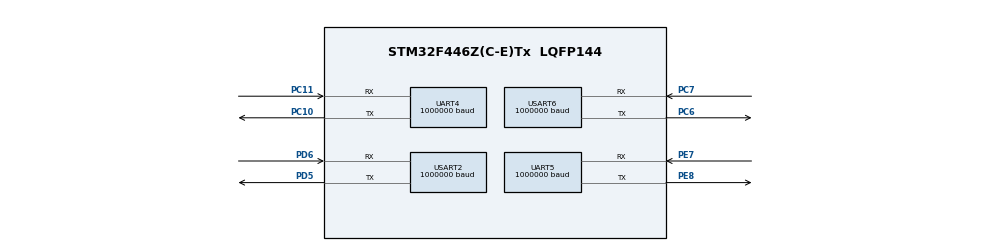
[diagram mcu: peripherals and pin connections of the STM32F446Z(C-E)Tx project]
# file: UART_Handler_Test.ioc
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FREERTOS.Tasks01=defaultTask,0,128,StartDefaultTask,Default,NULL
Mcu.Family=STM32F4
Mcu.Name=STM32F446Z(C-E)Tx
Mcu.Package=LQFP144
NVIC.PriorityGroup=NVIC_PRIORITYGROUP_4
PC10.Mode=Asynchronous
PC10.Signal=UART4_TX
PC11.Mode=Asynchronous
PC11.Signal=UART4_RX
PC6.Mode=Asynchronous
PC6.Signal=USART6_TX
PC7.Mode=Asynchronous
PC7.Signal=USART6_RX
PD5.Mode=Asynchronous
PD5.Signal=USART2_TX
PD6.Mode=Asynchronous
PD6.Signal=USART2_RX
PE7.Mode=Asynchronous
PE7.Signal=UART5_RX
PE8.Mode=Asynchronous
PE8.Signal=UART5_TX
ProjectManager.HeapSize=0x200
ProjectManager.StackSize=0x400
ProjectManager.TargetToolchain=SW4STM32
RCC.CortexFreq_Value=16000000
RCC.USBFreq_Value=96000000
RCC.VCOOutputFreq_Value=192000000
UART4.BaudRate=1000000
UART4.VirtualMode=Asynchronous
UART5.BaudRate=1000000
UART5.VirtualMode=Asynchronous
USART2.BaudRate=1000000
USART2.VirtualMode=VM_ASYNC
USART6.BaudRate=1000000
USART6.VirtualMode=VM_ASYNC
VP_FREERTOS_VS_ENABLE.Mode=Enabled
board=UART_Handler_Test

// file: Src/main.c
/**
  ******************************************************************************
  * File Name          : main.c
  * Description        : Main program body
  ******************************************************************************
  * This notice applies to any and all portions of this file
  * that are not between comment pairs USER CODE BEGIN and
  * USER CODE END. Other portions of this file, whether
  * inserted by the user or by software development tools
  * are owned by their respective copyright owners.
  *
  * Copyright (c) 2017 STMicroelectronics International N.V.
  * All rights reserved.
  *
  * Redistribution and use in source and binary forms, with or without
  * modification, are permitted, provided that the following conditions are met:
  *
  * 1. Redistribution of source code must retain the above copyright notice,
  *    this list of conditions and the following disclaimer.
  * 2. Redistributions in binary form must reproduce the above copyright notice,
  *    this list of conditions and the following disclaimer in the documentation
  *    and/or other materials provided with the distribution.
  * 3. Neither the name of STMicroelectronics nor the names of other
  *    contributors to this software may be used to endorse or promote products
  *    derived from this software without specific written permission.
  * 4. This software, including modifications and/or derivative works of this
  *    software, must execute solely and exclusively on microcontroller or
  *    microprocessor devices manufactured by or for STMicroelectronics.
  * 5. Redistribution and use of this software other than as permitted under
  *    this license is void and will automatically terminate your rights under
  *    this license.
  *
  * THIS SOFTWARE IS PROVIDED BY STMICROELECTRONICS AND CONTRIBUTORS "AS IS"
  * AND ANY EXPRESS, IMPLIED OR STATUTORY WARRANTIES, INCLUDING, BUT NOT
  * LIMITED TO, THE IMPLIED WARRANTIES OF MERCHANTABILITY, FITNESS FOR A
  * PARTICULAR PURPOSE AND NON-INFRINGEMENT OF THIRD PARTY INTELLECTUAL PROPERTY
  * RIGHTS ARE DISCLAIMED TO THE FULLEST EXTENT PERMITTED BY LAW. IN NO EVENT
  * SHALL STMICROELECTRONICS OR CONTRIBUTORS BE LIABLE FOR ANY DIRECT, INDIRECT,
  * INCIDENTAL, SPECIAL, EXEMPLARY, OR CONSEQUENTIAL DAMAGES (INCLUDING, BUT NOT
  * LIMITED TO, PROCUREMENT OF SUBSTITUTE GOODS OR SERVICES; LOSS OF USE, DATA,
  * OR PROFITS; OR BUSINESS INTERRUPTION) HOWEVER CAUSED AND ON ANY THEORY OF
  * LIABILITY, WHETHER IN CONTRACT, STRICT LIABILITY, OR TORT (INCLUDING
  * NEGLIGENCE OR OTHERWISE) ARISING IN ANY WAY OUT OF THE USE OF THIS SOFTWARE,
  * EVEN IF ADVISED OF THE POSSIBILITY OF SUCH DAMAGE.
  *
  ******************************************************************************
  */
#include "main.h"
#include "stm32f4xx_hal.h"
#include "cmsis_os.h"
#include "usart.h"
#include "gpio.h"

/* USER CODE BEGIN PV */
/* Private variables ---------------------------------------------------------*/
/* USER CODE END PV */

void SystemClock_Config(void);
void MX_FREERTOS_Init(void);

/* USER CODE BEGIN PFP */
/* Private function prototypes -----------------------------------------------*/

/* USER CODE END PFP */

int main(void)
{

  /* MCU Configuration----------------------------------------------------------*/

  /* Reset of all peripherals, Initializes the Flash interface and the Systick. */
  HAL_Init();

  /* Configure the system clock */
  SystemClock_Config();

  /* Initialize all configured peripherals */
  MX_GPIO_Init();
  MX_USART2_UART_Init();
  MX_UART4_Init();
  MX_UART5_Init();
  MX_USART6_UART_Init();

  /* Call init function for freertos objects (in freertos.c) */
  MX_FREERTOS_Init();

  /* Start scheduler */
  osKernelStart();

  /* We should never get here as control is now taken by the scheduler */

  /* Infinite loop */
  while (1)
  {

  }

}

/** System Clock Configuration
*/
void SystemClock_Config(void)
{

  RCC_OscInitTypeDef RCC_OscInitStruct;
  RCC_ClkInitTypeDef RCC_ClkInitStruct;

    /**Configure the main internal regulator output voltage
    */
  __HAL_RCC_PWR_CLK_ENABLE();

  __HAL_PWR_VOLTAGESCALING_CONFIG(PWR_REGULATOR_VOLTAGE_SCALE3);

    /**Initializes the CPU, AHB and APB busses clocks
    */
  RCC_OscInitStruct.OscillatorType = RCC_OSCILLATORTYPE_HSI;
  RCC_OscInitStruct.HSIState = RCC_HSI_ON;
  RCC_OscInitStruct.HSICalibrationValue = 16;
  RCC_OscInitStruct.PLL.PLLState = RCC_PLL_NONE;
  if (HAL_RCC_OscConfig(&RCC_OscInitStruct) != HAL_OK)
  {
    _Error_Handler(__FILE__, __LINE__);
  }

    /**Initializes the CPU, AHB and APB busses clocks
    */
  RCC_ClkInitStruct.ClockType = RCC_CLOCKTYPE_HCLK|RCC_CLOCKTYPE_SYSCLK
                              |RCC_CLOCKTYPE_PCLK1|RCC_CLOCKTYPE_PCLK2;
  RCC_ClkInitStruct.SYSCLKSource = RCC_SYSCLKSOURCE_HSI;
  RCC_ClkInitStruct.AHBCLKDivider = RCC_SYSCLK_DIV1;
  RCC_ClkInitStruct.APB1CLKDivider = RCC_HCLK_DIV1;
  RCC_ClkInitStruct.APB2CLKDivider = RCC_HCLK_DIV1;

  if (HAL_RCC_ClockConfig(&RCC_ClkInitStruct, FLASH_LATENCY_0) != HAL_OK)
  {
    _Error_Handler(__FILE__, __LINE__);
  }

    /**Configure the Systick interrupt time
    */
  HAL_SYSTICK_Config(HAL_RCC_GetHCLKFreq()/1000);

    /**Configure the Systick
    */
  HAL_SYSTICK_CLKSourceConfig(SYSTICK_CLKSOURCE_HCLK);

  /* SysTick_IRQn interrupt configuration */
  HAL_NVIC_SetPriority(SysTick_IRQn, 15, 0);
}

void _Error_Handler(char * file, int line)
{
  while(1)
  {
  }
}

/************************ (C) COPYRIGHT STMicroelectronics *****END OF FILE****/

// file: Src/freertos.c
/**
  ******************************************************************************
  * File Name          : freertos.c
  * Description        : Code for freertos applications
  ******************************************************************************
  * This notice applies to any and all portions of this file
  * that are not between comment pairs USER CODE BEGIN and
  * USER CODE END. Other portions of this file, whether
  * inserted by the user or by software development tools
  * are owned by their respective copyright owners.
  *
  * Copyright (c) 2017 STMicroelectronics International N.V.
  * All rights reserved.
  *
  * Redistribution and use in source and binary forms, with or without
  * modification, are permitted, provided that the following conditions are met:
  *
  * 1. Redistribution of source code must retain the above copyright notice,
  *    this list of conditions and the following disclaimer.
  * 2. Redistributions in binary form must reproduce the above copyright notice,
  *    this list of conditions and the following disclaimer in the documentation
  *    and/or other materials provided with the distribution.
  * 3. Neither the name of STMicroelectronics nor the names of other
  *    contributors to this software may be used to endorse or promote products
  *    derived from this software without specific written permission.
  * 4. This software, including modifications and/or derivative works of this
  *    software, must execute solely and exclusively on microcontroller or
  *    microprocessor devices manufactured by or for STMicroelectronics.
  * 5. Redistribution and use of this software other than as permitted under
  *    this license is void and will automatically terminate your rights under
  *    this license.
  *
  * THIS SOFTWARE IS PROVIDED BY STMICROELECTRONICS AND CONTRIBUTORS "AS IS"
  * AND ANY EXPRESS, IMPLIED OR STATUTORY WARRANTIES, INCLUDING, BUT NOT
  * LIMITED TO, THE IMPLIED WARRANTIES OF MERCHANTABILITY, FITNESS FOR A
  * PARTICULAR PURPOSE AND NON-INFRINGEMENT OF THIRD PARTY INTELLECTUAL PROPERTY
  * RIGHTS ARE DISCLAIMED TO THE FULLEST EXTENT PERMITTED BY LAW. IN NO EVENT
  * SHALL STMICROELECTRONICS OR CONTRIBUTORS BE LIABLE FOR ANY DIRECT, INDIRECT,
  * INCIDENTAL, SPECIAL, EXEMPLARY, OR CONSEQUENTIAL DAMAGES (INCLUDING, BUT NOT
  * LIMITED TO, PROCUREMENT OF SUBSTITUTE GOODS OR SERVICES; LOSS OF USE, DATA,
  * OR PROFITS; OR BUSINESS INTERRUPTION) HOWEVER CAUSED AND ON ANY THEORY OF
  * LIABILITY, WHETHER IN CONTRACT, STRICT LIABILITY, OR TORT (INCLUDING
  * NEGLIGENCE OR OTHERWISE) ARISING IN ANY WAY OUT OF THE USE OF THIS SOFTWARE,
  * EVEN IF ADVISED OF THE POSSIBILITY OF SUCH DAMAGE.
  *
  ******************************************************************************
  */

#include "FreeRTOS.h"
#include "task.h"
#include "cmsis_os.h"

/* USER CODE BEGIN Includes */
#include "stm32f4xx_hal.h"
//#include "dma.h"
#include "usart.h"
#include "gpio.h"
#include "UART_Handler.h"
#include "C:/Users/Gokul/SkyDrive/Documents/Work/stm32/Dynamixel_AX-12A_Driver/src/Dynamixel_AX_12A.c"
/* USER CODE END Includes */

osThreadId defaultTaskHandle;

/* USER CODE BEGIN Variables */
Dynamixel_HandleTypeDef Motor0,Motor1,Motor2,Motor3,Motor4,Motor5,Motor6,Motor7,Motor8,Motor9,Motor10,Motor11;

osThreadId defaultTaskHandle;
osThreadId UART2_HandlerHandle;
osThreadId UART4_HandlerHandle;
osThreadId UART5_HandlerHandle;
osThreadId UART6_HandlerHandle;
osMessageQId UART2_reqHandle;
osMessageQId UART4_reqHandle;
osMessageQId UART5_reqHandle;
osMessageQId UART6_reqHandle;
osMessageQId UART_rxHandle;

const double motorPosArr[12][1000] = {
		{},
		{},
		{},
		{},
		{},
		{},
		{},
		{},
		{},
		{},
		{},
		{},
};

/* USER CODE END Variables */

void StartDefaultTask(void const * argument);

void MX_FREERTOS_Init(void); /* (MISRA C 2004 rule 8.1) */

/* USER CODE BEGIN FunctionPrototypes */
void UART2_Handler(void const * argument);
void UART4_Handler(void const * argument);
void UART5_Handler(void const * argument);
void UART6_Handler(void const * argument);
//void UART_Send(void const * argument);
/* USER CODE END FunctionPrototypes */

/* Hook prototypes */

/* Init FreeRTOS */

void MX_FREERTOS_Init(void) {

  /* Create the thread(s) */
  /* definition and creation of defaultTask */
  osThreadDef(defaultTask, StartDefaultTask, osPriorityNormal, 0, 128);
  defaultTaskHandle = osThreadCreate(osThread(defaultTask), NULL);

  /* USER CODE BEGIN RTOS_THREADS */
  osThreadDef(UART2_Handler, UART2_Handler, osPriorityRealtime, 0, 128);
  UART2_HandlerHandle = osThreadCreate(osThread(UART2_Handler), NULL);
  osThreadDef(UART4_Handler, UART4_Handler, osPriorityRealtime, 0, 128);
  UART4_HandlerHandle = osThreadCreate(osThread(UART4_Handler), NULL);
  osThreadDef(UART5_Handler, UART5_Handler, osPriorityRealtime, 0, 128);
  UART5_HandlerHandle = osThreadCreate(osThread(UART5_Handler), NULL);
  osThreadDef(UART6_Handler, UART6_Handler, osPriorityRealtime, 0, 128);
  UART6_HandlerHandle = osThreadCreate(osThread(UART6_Handler), NULL);
  /* USER CODE END RTOS_THREADS */

  /* USER CODE BEGIN RTOS_QUEUES */
  osMessageQDef(UART2_req, 20, UARTcmd);
  UART2_reqHandle = osMessageCreate(osMessageQ(UART2_req), NULL);
  osMessageQDef(UART4_req, 20, UARTcmd);
  UART4_reqHandle = osMessageCreate(osMessageQ(UART4_req), NULL);
  osMessageQDef(UART5_req, 20, UARTcmd);
  UART5_reqHandle = osMessageCreate(osMessageQ(UART5_req), NULL);
  osMessageQDef(UART6_req, 20, UARTcmd);
  UART6_reqHandle = osMessageCreate(osMessageQ(UART6_req), NULL);
  osMessageQDef(UART_rx, 20, UART_HandleTypeDef*);
  UART_rxHandle = osMessageCreate(osMessageQ(UART_rx), NULL);
  /* USER CODE END RTOS_QUEUES */
}

/* StartDefaultTask function */
void StartDefaultTask(void const * argument)
{

  /* USER CODE BEGIN StartDefaultTask */
int size = 1000, i, j;
UARTcmd Motorcmd[12];
Dynamixel_Init(&Motor0, 1, &huart2, GPIOD, GPIO_PIN_7);
Dynamixel_Init(&Motor1, 2, &huart2, GPIOD, GPIO_PIN_7);
Dynamixel_Init(&Motor2, 3, &huart2, GPIOD, GPIO_PIN_7);
Dynamixel_Init(&Motor3, 4, &huart2, GPIOD, GPIO_PIN_7);
Dynamixel_Init(&Motor4, 5, &huart2, GPIOD, GPIO_PIN_7);
Dynamixel_Init(&Motor5, 6, &huart2, GPIOD, GPIO_PIN_7);
Dynamixel_Init(&Motor6, 7, &huart2, GPIOD, GPIO_PIN_7);
Dynamixel_Init(&Motor7, 8, &huart2, GPIOD, GPIO_PIN_7);
Dynamixel_Init(&Motor8, 9, &huart2, GPIOD, GPIO_PIN_7);
Dynamixel_Init(&Motor9, 10, &huart2, GPIOD, GPIO_PIN_7);
Dynamixel_Init(&Motor10, 11, &huart2, GPIOD, GPIO_PIN_7);
Dynamixel_Init(&Motor11, 12, &huart2, GPIOD, GPIO_PIN_7);

(Motorcmd[0]).motorHandle = &Motor0;
(Motorcmd[1]).motorHandle = &Motor1;
(Motorcmd[2]).motorHandle = &Motor2;
(Motorcmd[3]).motorHandle = &Motor3;
(Motorcmd[4]).motorHandle = &Motor4;
(Motorcmd[5]).motorHandle = &Motor5;
(Motorcmd[6]).motorHandle = &Motor6;
(Motorcmd[7]).motorHandle = &Motor7;
(Motorcmd[8]).motorHandle = &Motor8;
(Motorcmd[9]).motorHandle = &Motor9;
(Motorcmd[10]).motorHandle = &Motor10;
(Motorcmd[11]).motorHandle = &Motor11;
(Motorcmd[0]).qHandle = UART2_reqHandle;
(Motorcmd[1]).qHandle = UART2_reqHandle;
(Motorcmd[2]).qHandle = UART2_reqHandle;
(Motorcmd[3]).qHandle = UART2_reqHandle;
(Motorcmd[4]).qHandle = UART2_reqHandle;
(Motorcmd[5]).qHandle = UART2_reqHandle;
(Motorcmd[6]).qHandle = UART2_reqHandle;
(Motorcmd[7]).qHandle = UART2_reqHandle;
(Motorcmd[8]).qHandle = UART2_reqHandle;
(Motorcmd[9]).qHandle = UART2_reqHandle;
(Motorcmd[10]).qHandle = UART2_reqHandle;
(Motorcmd[11]).qHandle = UART2_reqHandle;

for(i=0; i<12; i++) {
	(Motorcmd[i]).type = cmdWRITE;
	(Motorcmd[i]).velocity = MAX_VELOCITY * 0.75;
}
  /* Infinite loop */
  for(i=0;i<size;i++)
  {
	  for(j=0;j<12;j++) {
		  (Motorcmd[j]).position = motorPosArr[j][i];
		  xQueueSend((Motorcmd[j]).qHandle,&(Motorcmd[j]),10);
	  }

    osDelay(10);
  }
  /* USER CODE END StartDefaultTask */
}

/* USER CODE BEGIN Application */

void UART2_Handler(void const * argument)
{
  /* USER CODE BEGIN UART_Handler */
  /* Infinite loop */
  UARTcmd 	cmdMessage;
  for(;;)
  {
	  while(xQueueReceive(UART2_reqHandle,&(cmdMessage),portMAX_DELAY) != pdTRUE);
	  if(cmdMessage.type == cmdREAD) {
		  /*SEND READ COMMAND TO MOTOR*/
		  Dynamixel_GetPosition(cmdMessage.motorHandle);
		  //Dynamixel_GetVelocity(cmdMessage.motorHandle);
		  xQueueSend(UART_rxHandle,&(cmdMessage.motorHandle),0);
	  }
	  else if(cmdMessage.type == cmdWRITE) {
		  Dynamixel_SetGoalPosition(cmdMessage.motorHandle,cmdMessage.position);
		  Dynamixel_SetGoalVelocity(cmdMessage.motorHandle,cmdMessage.velocity);
	  }
	  osDelay(1);
  }
  /* USER CODE END UART_Handler */
}
void UART4_Handler(void const * argument)
{
  /* USER CODE BEGIN UART_Handler */
  /* Infinite loop */
  UARTcmd 	cmdMessage;
  for(;;)
  {
	  while(xQueueReceive(UART4_reqHandle,&(cmdMessage),portMAX_DELAY) != pdTRUE);
	  if(cmdMessage.type == cmdREAD) {
		  /*SEND READ COMMAND TO MOTOR*/
		  Dynamixel_GetPosition(cmdMessage.motorHandle);
		  //Dynamixel_GetVelocity(cmdMessage.motorHandle);
		  xQueueSend(UART_rxHandle,&(cmdMessage.motorHandle),0);
	  }
	  else if(cmdMessage.type == cmdWRITE) {
		  Dynamixel_SetGoalPosition(cmdMessage.motorHandle,cmdMessage.position);
		  Dynamixel_SetGoalVelocity(cmdMessage.motorHandle,cmdMessage.velocity);
	  }
	  osDelay(1);
  }
  /* USER CODE END UART_Handler */
}
void UART5_Handler(void const * argument)
{
  /* USER CODE BEGIN UART_Handler */
  /* Infinite loop */
  UARTcmd 	cmdMessage;
  for(;;)
  {
	  while(xQueueReceive(UART5_reqHandle,&(cmdMessage),portMAX_DELAY) != pdTRUE);
	  if(cmdMessage.type == cmdREAD) {
		  /*SEND READ COMMAND TO MOTOR*/
		  Dynamixel_GetPosition(cmdMessage.motorHandle);
		  //Dynamixel_GetVelocity(cmdMessage.motorHandle);
		  xQueueSend(UART_rxHandle,&(cmdMessage.motorHandle),0);
	  }
	  else if(cmdMessage.type == cmdWRITE) {
		  Dynamixel_SetGoalPosition(cmdMessage.motorHandle,cmdMessage.position);
		  Dynamixel_SetGoalVelocity(cmdMessage.motorHandle,cmdMessage.velocity);
	  }
	  osDelay(1);
  }
  /* USER CODE END UART_Handler */
}
void UART6_Handler(void const * argument)
{
  /* USER CODE BEGIN UART_Handler */
  /* Infinite loop */
  UARTcmd 	cmdMessage;
  for(;;)
  {
	  while(xQueueReceive(UART6_reqHandle,&(cmdMessage),portMAX_DELAY) != pdTRUE);
	  if(cmdMessage.type == cmdREAD) {
		  /*SEND READ COMMAND TO MOTOR*/
		  Dynamixel_GetPosition(cmdMessage.motorHandle);
		  //Dynamixel_GetVelocity(cmdMessage.motorHandle);
		  xQueueSend(UART_rxHandle,&(cmdMessage.motorHandle),0);
	  }
	  else if(cmdMessage.type == cmdWRITE) {
		  Dynamixel_SetGoalPosition(cmdMessage.motorHandle,cmdMessage.position);
		  Dynamixel_SetGoalVelocity(cmdMessage.motorHandle,cmdMessage.velocity);
	  }
	  osDelay(1);
  }
  /* USER CODE END UART_Handler */
}
/* USER CODE END Application */

/************************ (C) COPYRIGHT STMicroelectronics *****END OF FILE****/
